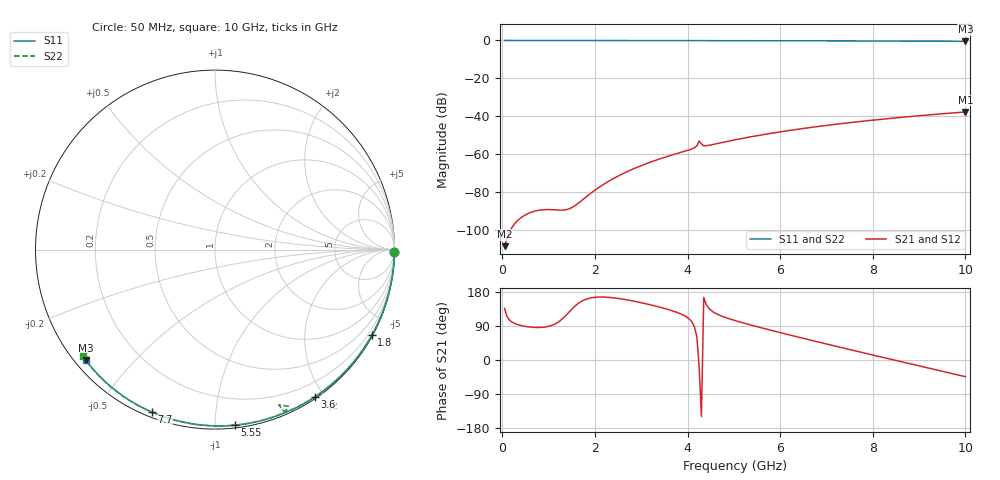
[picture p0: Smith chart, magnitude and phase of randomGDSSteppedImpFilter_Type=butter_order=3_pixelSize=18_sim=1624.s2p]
! freq	dB(S11)	phase(S11)	dB(S12)	phase(S12)
!  dB(S21)	phase(S21)	dB(S22)	phase(S22)
!S-par simulation data
#  GHz  S  DB  R 50
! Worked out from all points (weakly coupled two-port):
!   200 points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, 50 MHz to 10 GHz, reference 50 ohm
!   highest |S21| = -37.65 dB at 10 GHz (marker M1); lowest = -108.3 dB at 50 MHz (marker M2)
!   lowest |S11| = -0.5 dB at 10 GHz (marker M3), VSWR 36.88, Z = 1.54 - j18.4 ohm
!   |S11| at or under -10 dB: nowhere
!   |S22| runs from -0.6 to 0.0 dB; largest |S21 - S12| = 0
!   S11 on the Smith chart (normalised r, x): 50 MHz: open; 1.8 GHz: 0.03, -3.91; 3.6 GHz: 0.02, -1.88; 5.55 GHz: 0.02, -1.12; 7.7 GHz: 0.02, -0.68; 10 GHz: 0.03, -0.37
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0.05  -0.00 -0.8  -108.29 136.1  -108.29 136.1  -0.00 -0.8
0.85  -0.02 -13.7  -89.19 86.1  -89.19 86.1  -0.01 -13.8
1.75  -0.04 -27.9  -83.56 157.3  -83.56 157.3  -0.04 -28.2
1.8  -0.04 -28.7  -82.57 159.9  -82.57 159.9  -0.04 -29.0
1.95  -0.04 -31.0  -79.73 164.6  -79.73 164.6  -0.04 -31.4
2.25  -0.05 -35.7  -74.80 165.7  -74.80 165.7  -0.05 -36.1
2.55  -0.05 -40.3  -70.76 161.6  -70.76 161.6  -0.05 -40.8
2.95  -0.06 -46.3  -66.38 152.5  -66.38 152.5  -0.06 -46.9
3.4  -0.07 -53.0  -62.35 139.5  -62.35 139.5  -0.07 -53.7
3.6  -0.08 -56.0  -60.77 132.6  -60.77 132.6  -0.08 -56.7
4.15  -0.09 -64.0  -56.53 87.4  -56.53 87.4  -0.12 -65.6
4.2  -0.09 -64.7  -55.57 62.8  -55.57 62.8  -0.19 -66.8
4.25  -0.09 -65.4  -52.94 -15.3  -52.94 -15.3  -0.58 -67.7
4.3  -0.09 -66.1  -54.45 -148.8  -54.45 -148.8  -0.32 -64.9
4.35  -0.10 -66.8  -55.46 165.1  -55.46 165.1  -0.16 -66.4
4.4  -0.10 -67.5  -55.45 147.5  -55.45 147.5  -0.12 -67.5
5.05  -0.12 -76.6  -52.18 103.1  -52.18 103.1  -0.12 -77.3
5.55  -0.14 -83.4  -49.93 86.4  -49.93 86.4  -0.14 -84.2
6.7  -0.19 -98.6  -45.67 51.2  -45.67 51.2  -0.19 -99.6
7.7  -0.25 -111.3  -42.73 21.8  -42.73 21.8  -0.26 -112.4
8.35  -0.31 -119.4  -41.10 3.1  -41.10 3.1  -0.31 -120.6
10  -0.47 -139.5  -37.65 -44.0  -37.65 -44.0  -0.48 -141.0
